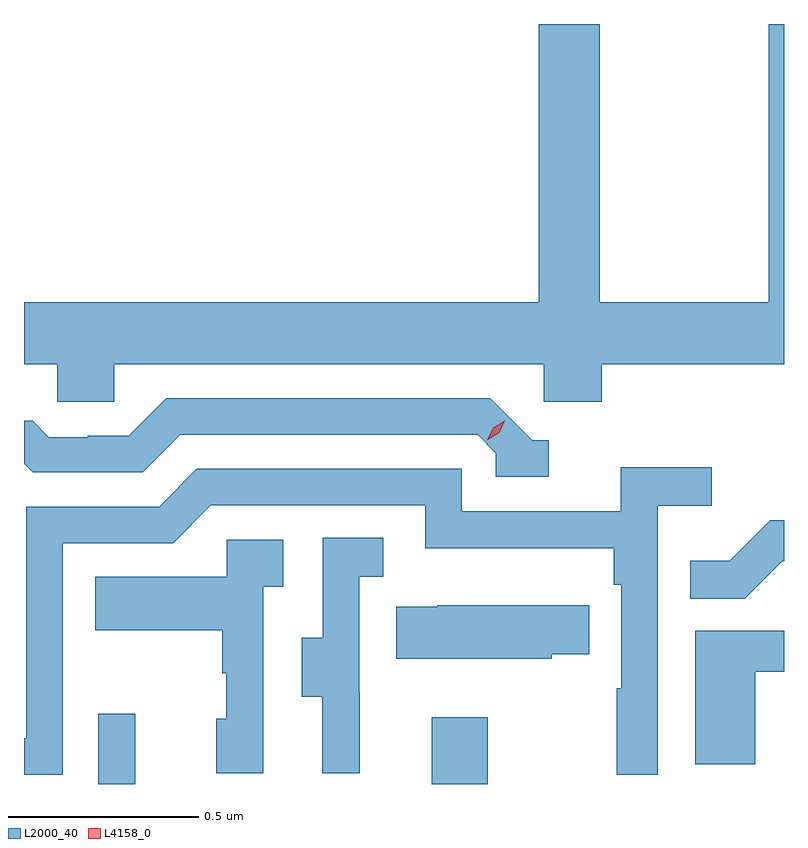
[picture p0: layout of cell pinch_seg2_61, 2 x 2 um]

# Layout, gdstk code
import gdstk
lib = gdstk.Library(unit=1e-6, precision=1e-09)
def R(c, l, rs):  # rectangles x0, y0, x1, y1
    for r in rs: c.add(gdstk.rectangle(r[:2], r[2:], *l))
def P(c, l, *ps):  # polygons
    for p in ps: c.add(gdstk.Polygon(p, *l))
L2000_40 = (2000, 40)
L4158_0 = (4158, 0)

pinch_seg2_61 = lib.new_cell('pinch_seg2_61')
R(pinch_seg2_61, L2000_40, [(1025.355,662.516,1025.453,662.701), (1026.233,662.516,1026.381,662.692)])
P(pinch_seg2_61, L2000_40, [(1026.515,663.784),(1025.16,663.784),(1025.16,663.62),(1025.247,663.62),(1025.247,663.522),(1025.397,663.522),(1025.397,663.62),(1026.528,663.62),(1026.528,663.522),(1026.68,663.522),(1026.68,663.62),(1027.16,663.62),(1027.16,664.516),(1027.12,664.516),(1027.12,663.784),(1026.675,663.784),(1026.675,664.516),(1026.515,664.516)],
  [(1026.541,663.42),(1026.498,663.42),(1026.387,663.531),(1025.534,663.531),(1025.435,663.432),(1025.328,663.432),(1025.328,663.429),(1025.225,663.429),(1025.183,663.472),(1025.16,663.472),(1025.16,663.359),(1025.183,663.336),(1025.472,663.336),(1025.571,663.435),(1026.354,663.435),(1026.402,663.387),(1026.402,663.324),(1026.541,663.324)],
  [(1025.262,663.15),(1025.553,663.15),(1025.652,663.249),(1026.216,663.249),(1026.216,663.137),(1026.712,663.137),(1026.712,663.041),(1026.732,663.041),(1026.732,662.768),(1026.72,662.768),(1026.72,662.541),(1026.828,662.541),(1026.828,663.248),(1026.97,663.248),(1026.97,663.35),(1026.731,663.35),(1026.731,663.234),(1026.312,663.234),(1026.312,663.345),(1025.615,663.345),(1025.516,663.246),(1025.166,663.246),(1025.166,662.637),(1025.16,662.637),(1025.16,662.541),(1025.262,662.541)],
  [(1027.155,663.102),(1027.16,663.102),(1027.16,663.21),(1027.124,663.21),(1027.017,663.103),(1026.913,663.103),(1026.913,663.004),(1027.057,663.004)],
  [(1026.044,662.757),(1026.042,662.757),(1026.042,663.061),(1026.106,663.061),(1026.106,663.164),(1025.946,663.164),(1025.946,662.901),(1025.891,662.901),(1025.891,662.746),(1025.945,662.746),(1025.945,662.544),(1026.044,662.544)],
  [(1025.79,663.035),(1025.842,663.035),(1025.842,663.159),(1025.694,663.159),(1025.694,663.061),(1025.347,663.061),(1025.347,662.921),(1025.682,662.921),(1025.682,662.807),(1025.692,662.807),(1025.692,662.688),(1025.666,662.688),(1025.666,662.544),(1025.79,662.544)],
  [(1026.549,662.857),(1026.647,662.857),(1026.647,662.986),(1026.247,662.986),(1026.247,662.983),(1026.139,662.983),(1026.139,662.846),(1026.549,662.846)],
  [(1027.084,662.811),(1027.16,662.811),(1027.16,662.919),(1026.926,662.919),(1026.926,662.568),(1027.084,662.568)])
P(pinch_seg2_61, L4158_0, [(1026.379,663.42),(1026.379,663.421),(1026.395,663.453),(1026.425,663.472),(1026.425,663.472),(1026.425,663.472),(1026.41,663.44),(1026.379,663.42)])

lib.write_gds('pinch_seg2_61.gds')
